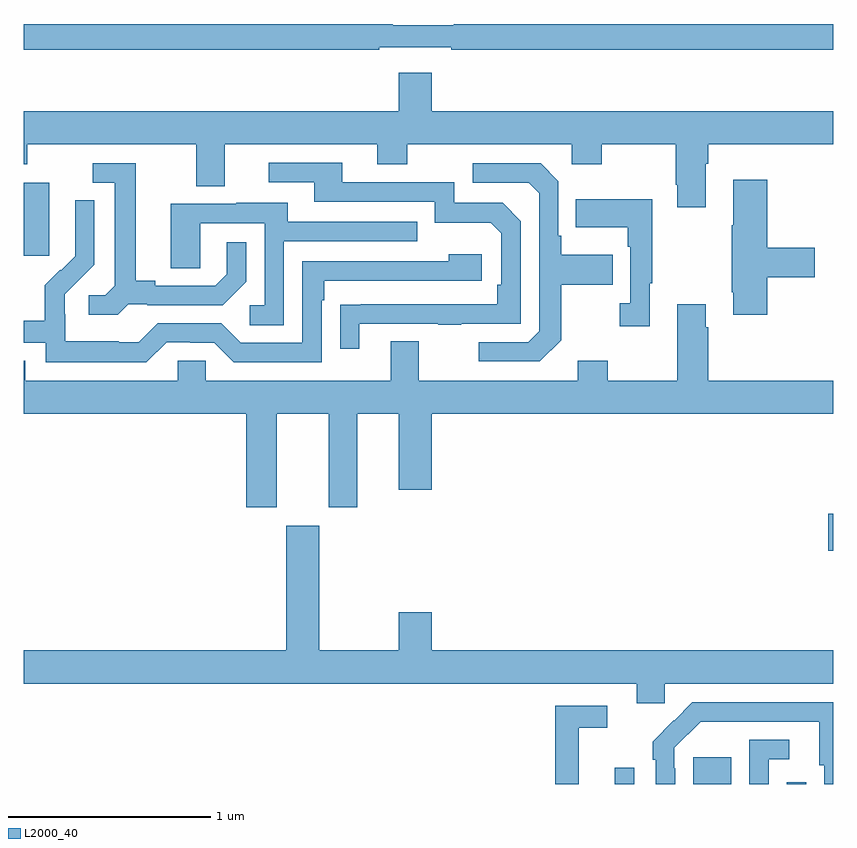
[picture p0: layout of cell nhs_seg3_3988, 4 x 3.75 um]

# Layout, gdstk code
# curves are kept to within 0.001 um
import gdstk
lib = gdstk.Library(unit=1e-6, precision=1e-09)
def R(c, l, rs):  # rectangles x0, y0, x1, y1
    for r in rs: c.add(gdstk.rectangle(r[:2], r[2:], *l))
def P(c, l, *ps):  # polygons
    for p in ps: c.add(gdstk.Polygon(p, *l))
L2000_40 = (2000, 40)

nhs_seg3_3988 = lib.new_cell('nhs_seg3_3988')
R(nhs_seg3_3988, L2000_40, [(321.921,720.4,322.017,720.481), (322.307,720.4,322.495,720.532), (322.77,720.4,322.866,720.409), (322.974,721.553,323,721.736), (319,723.009,319.126,723.37)])
P(nhs_seg3_3988, L2000_40, [(320.756,724.038),(321.112,724.038),(321.112,724.026),(323,724.026),(323,724.154),(321.124,724.154),(321.124,724.147),(320.824,724.147),(320.824,724.154),(319,724.154),(319,724.026),(320.756,724.026)],
  [(322.369,723.464),(322.382,723.464),(322.382,723.56),(323,723.56),(323,723.724),(321.016,723.724),(321.016,723.913),(320.852,723.913),(320.852,723.724),(319,723.724),(319,723.461),(319.017,723.461),(319.017,723.56),(319.853,723.56),(319.853,723.352),(319.993,723.352),(319.993,723.56),(320.747,723.56),(320.747,723.461),(320.895,723.461),(320.895,723.56),(321.708,723.56),(321.708,723.461),(321.855,723.461),(321.855,723.56),(322.222,723.56),(322.222,723.361),(322.229,723.361),(322.229,723.249),(322.369,723.249)],
  [(320.659,722.673),(321.049,722.673),(321.049,722.668),(321.161,722.668),(321.161,722.673),(321.456,722.673),(321.456,723.18),(321.366,723.27),(321.126,723.27),(321.126,723.372),(320.575,723.372),(320.575,723.468),(320.211,723.468),(320.211,723.372),(320.435,723.372),(320.435,723.276),(321.03,723.276),(321.03,723.173),(321.307,723.173),(321.36,723.12),(321.36,722.866),(321.34,722.866),(321.34,722.769),(320.563,722.768),(320.563,722.55),(320.659,722.55)],
  [(321.655,722.593),(321.655,722.866),(321.911,722.866),(321.911,723.013),(321.655,723.013),(321.655,723.109),(321.642,723.109),(321.642,723.378),(321.555,723.465),(321.219,723.465),(321.219,723.369),(321.495,723.369),(321.546,723.318),(321.546,722.637),(321.492,722.583),(321.249,722.583),(321.249,722.487),(321.549,722.487)],
  [(319.518,722.769),(319.612,722.769),(319.612,722.766),(319.984,722.766),(320.1,722.882),(320.1,723.076),(320.003,723.076),(320.003,722.919),(319.946,722.862),(319.651,722.862),(319.651,722.885),(319.555,722.885),(319.555,723.465),(319.341,723.465),(319.341,723.369),(319.451,723.369),(319.451,722.861),(319.404,722.814),(319.323,722.814),(319.323,722.717),(319.466,722.717)],
  [(322.673,722.903),(322.909,722.903),(322.909,723.05),(322.673,723.05),(322.673,723.385),(322.505,723.385),(322.505,723.161),(322.498,723.161),(322.498,722.83),(322.505,722.83),(322.505,722.718),(322.673,722.718)],
  [(322.093,722.873),(322.105,722.873),(322.105,723.289),(321.727,723.289),(321.727,723.149),(321.984,723.149),(321.984,723.053),(321.996,723.053),(321.996,722.774),(321.945,722.774),(321.945,722.661),(322.093,722.661)],
  [(319.707,722.583),(319.823,722.583),(319.823,722.58),(319.941,722.58),(320.037,722.484),(320.472,722.484),(320.472,722.789),(320.485,722.789),(320.485,722.886),(321.262,722.886),(321.262,723.016),(321.101,723.016),(321.101,722.982),(320.376,722.982),(320.376,722.58),(320.073,722.58),(319.977,722.676),(319.662,722.676),(319.569,722.583),(319.469,722.583),(319.469,722.587),(319.206,722.587),(319.206,722.721),(319.204,722.721),(319.204,722.818),(319.35,722.966),(319.35,723.284),(319.254,723.284),(319.254,723.13),(319.256,723.13),(319.256,723.008),(319.185,722.937),(319.182,722.94),(319.105,722.863),(319.105,722.689),(319,722.689),(319,722.58),(319.11,722.58),(319.11,722.483),(319.607,722.483)],
  [(320.286,723.081),(320.945,723.081),(320.945,723.177),(320.305,723.177),(320.305,723.271),(320.051,723.271),(320.051,723.267),(319.727,723.267),(319.727,722.947),(319.872,722.947),(319.872,723.171),(320.19,723.171),(320.19,722.766),(320.118,722.766),(320.118,722.665),(320.286,722.665)],
  [(320.251,722.228),(320.507,722.228),(320.507,721.767),(320.647,721.767),(320.647,722.228),(320.852,722.228),(320.852,721.854),(321.016,721.854),(321.016,722.228),(323,722.228),(323,722.392),(322.382,722.392),(322.382,722.657),(322.369,722.657),(322.369,722.77),(322.229,722.77),(322.229,722.392),(321.885,722.392),(321.885,722.491),(321.737,722.491),(321.737,722.392),(320.953,722.392),(320.953,722.587),(320.813,722.587),(320.813,722.392),(319.899,722.392),(319.899,722.49),(319.761,722.49),(319.761,722.392),(319.009,722.392),(319.009,722.491),(319,722.491),(319,722.228),(320.099,722.228),(320.099,721.767),(320.251,721.767)],
  [(322.167,720.896),(323,720.896),(323,721.06),(321.016,721.06),(321.016,721.249),(320.852,721.249),(320.852,721.06),(320.461,721.06),(320.461,721.675),(320.297,721.675),(320.297,721.06),(319,721.06),(319,720.896),(322.028,720.896),(322.028,720.798),(322.167,720.798)],
  [(322.218,720.479),(322.215,720.479),(322.215,720.579),(322.344,720.708),(322.931,720.708),(322.931,720.492),(322.955,720.492),(322.955,720.4),(323,720.4),(323,720.804),(322.304,720.804),(322.107,720.609),(322.107,720.521),(322.122,720.521),(322.122,720.4),(322.218,720.4)],
  [(321.743,720.678),(321.883,720.678),(321.883,720.786),(321.625,720.786),(321.625,720.4),(321.743,720.4)],
  [(322.68,720.522),(322.783,720.522),(322.783,720.618),(322.584,720.618),(322.584,720.4),(322.68,720.4)])

lib.write_gds('nhs_seg3_3988.gds')
